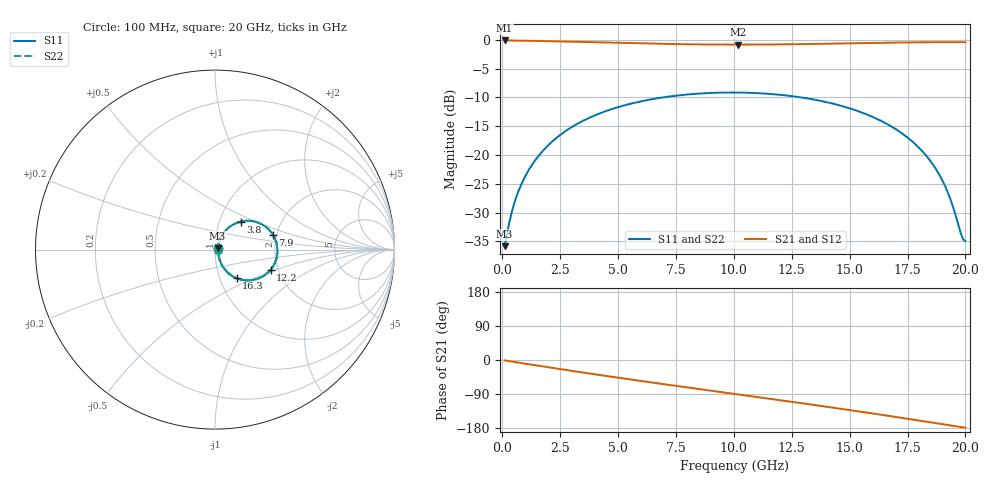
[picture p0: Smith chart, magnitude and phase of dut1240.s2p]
! Touchstone file exported from HFSS 2026.1.0
!  File:  C:/ffzhzh/LocalFiles/Ansys_Project_Files/temp_train_TSV_RDL_1240_1783323872_39728.aedt
!  Generated:  03:57:08 PM Jul  6, 2026
!  Design:  TSV_RDL
!  Project:  temp_train_TSV_RDL_1240_1783323872_39728
! Variables:
!  h_bsmrdl = 5.99um
!  h_ox = 20um
!  h_rdl = 5um
!  h_sub = 81.27um
!  h_tmrdl = 2.16um
!  h_tsv = 81.27um
!  h_via = 3um
!  l_bsmrdl = 508.28um
!  l_sub = 2755.31um
!  l_tmrdl = 181.96um
!  m_sub = 200um
!  pitch = 33.4um
!  r_tsv = 10.53um
!  s_tmrdl = 10um
!  w_bsmrdl = 11.79um
!  w_sub = 500um
!  w_tmrdl = 22.42um
!  x_tsv_center1 = 193.17um
!  x_tsv_center2 = 713.24um
!  x_tsv_center3 = 917.62um
!  x_tsv_center4 = 1437.69um
!  x_tsv_center5 = 1642.07um
!  x_tsv_center6 = 2162.14um
# GHz S MA R 50.000000
! Terminal data exported
! Port[1] = TM_RDL1_1_T1
! Port[2] = TM_RDL5_1_T1
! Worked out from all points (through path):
!   200 points, 100 MHz to 20 GHz, reference 50 ohm
!   highest |S21| = -0.13 dB at 100 MHz (marker M1); lowest = -0.8 dB at 10.2 GHz (marker M2)
!   group delay of S21, straight-line fit = 24.3 ps
!   lowest |S11| = -35.8 dB at 100 MHz (marker M3), VSWR 1.03, Z = 51.5 + j0.7 ohm
!   |S11| at or under -10 dB: start of sweep to 6.953 GHz; 12.89 GHz to end of sweep
!   |S22| runs from -35.8 to -9.2 dB; largest |S21 - S12| = 3.7e-14
!   S11 on the Smith chart (normalised r, x): 100 MHz: 1.03, +0.01; 3.8 GHz: 1.26, +0.41; 7.9 GHz: 1.91, +0.35; 12.2 GHz: 1.82, -0.46; 16.3 GHz: 1.20, -0.40; 20 GHz: 1.04, +0.00
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0.1  0.0162 24.8  0.9854 -1.0  0.9854 -1.0  0.0162 24.8
! Gamma 0 0 0 0
! Port Impedance 50 0 50 0
0.4  0.03147 55.1  0.9835 -4.0  0.9835 -4.0  0.03147 55.1
0.6  0.04294 60.4  0.9821 -6.0  0.9821 -6.0  0.04294 60.4
1.2  0.07742 64.0  0.9781 -11.7  0.9781 -11.7  0.07742 64.0
2.2  0.1333 59.6  0.9697 -21.2  0.9697 -21.2  0.1333 59.6
3.5  0.1986 49.9  0.9558 -33.3  0.9558 -33.3  0.1986 49.9
3.8  0.2121 47.5  0.9524 -36.0  0.9524 -36.0  0.2121 47.5
5.3  0.2705 35.3  0.9356 -49.4  0.9356 -49.4  0.2705 35.3
6.8  0.3128 23.1  0.9212 -62.3  0.9212 -62.3  0.3128 23.1
7.9  0.3335 14.3  0.9135 -71.6  0.9135 -71.6  0.3335 14.3
10.1  0.3484 -3.2  0.9068 -90.1  0.9068 -90.1  0.3484 -3.2
10.2  0.3482 -4.0  0.9068 -90.9  0.9068 -90.9  0.3482 -4.0
12.2  0.3296 -19.9  0.9118 -107.7  0.9118 -107.7  0.3296 -19.9
13.4  0.3042 -29.6  0.9186 -118.0  0.9186 -118.0  0.3043 -29.6
15  0.2541 -42.5  0.9304 -132.1  0.9304 -132.1  0.2541 -42.5
16.3  0.2004 -52.8  0.9402 -143.9  0.9402 -143.9  0.2004 -52.8
16.7  0.1817 -55.9  0.9429 -147.6  0.9429 -147.6  0.1817 -55.9
17.8  0.126 -63.3  0.9489 -157.8  0.9489 -157.8  0.126 -63.3
18.7  0.07705 -66.3  0.9517 -166.3  0.9517 -166.3  0.07703 -66.4
19.2  0.04952 -63.2  0.9522 -171.1  0.9522 -171.1  0.04948 -63.3
19.8  0.02099 -31.6  0.9518 -176.8  0.9518 -176.8  0.02086 -31.9
20  0.01787 0.8  0.9514 -178.7  0.9514 -178.7  0.0177 0.7
